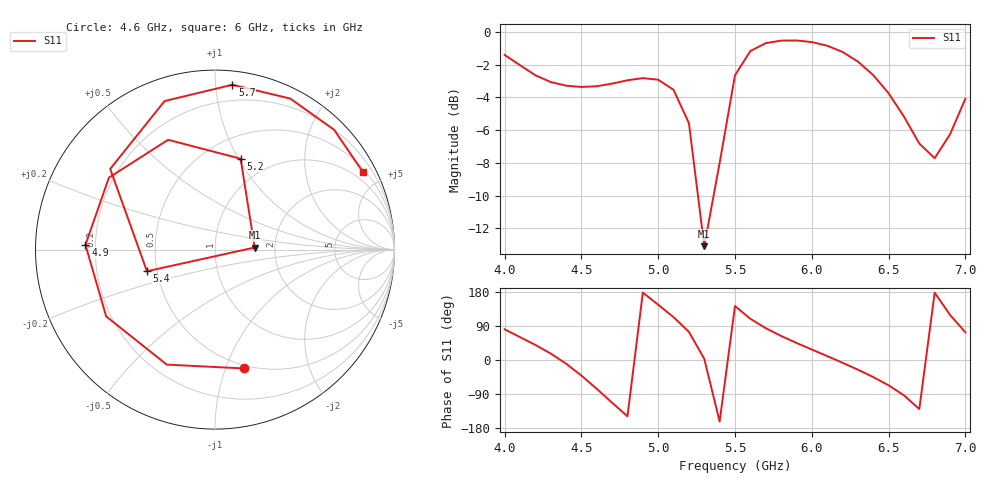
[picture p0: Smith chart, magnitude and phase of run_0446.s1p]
! Touchstone file exported from HFSS 2024.2.0
!  File:  C:/Users/wsak9/Desktop/Sim Fast/Widenad Patch/WP_AI_V1_sweep.aedt
!  Generated:  10:24:20 AM Oct 14, 2026
!  Design:  A1_model
!  Project:  WP_AI_V1_sweep
!  Setup:  Setup1
!  Solution:  Sweep
! Variables:
!  Air_gap = 3.79mm
!  Curve_Amp1 = 2.95
!  Curve_len1 = 1
!  Curve_pos = 11.66mm
!  Extra = 5.12mm
!  H_sub = 0.79mm
!  L_Patch = 19.32mm
!  L_Patch1 = 18.18mm
!  Sx = 3.42mm
!  Sy = 0.51mm
!  WS = 1.21mm
!  W_Patch = 18.83mm
!  W_Patch1 = 13.06mm
!Data is not renormalized
# GHz S MA
! Terminal data exported
! Port[1] = 1
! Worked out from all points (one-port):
!   31 points, 4 GHz to 7 GHz, reference per port
!   lowest |S11| = -13.1 dB at 5.3 GHz (marker M1), VSWR 1.57
!   |S11| at or under -10 dB: 5.259 GHz to 5.361 GHz (102 MHz wide, 1.92 % of centre)
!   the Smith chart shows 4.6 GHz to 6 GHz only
!   S11 on the Smith chart (normalised r, x): 4.6 GHz: 0.47, -1.16; 4.9 GHz: 0.16, +0.02; 5.2 GHz: 0.73, +1.02; 5.4 GHz: 0.44, -0.13; 5.7 GHz: 0.09, +1.11; 6 GHz: 0.61, +3.97
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4  0.8503 81.1
4.2  0.737 39.8
4.3  0.7028 17.1
4.4  0.6849 -9.7
4.5  0.6785 -41.0
4.6  0.6822 -76.1
4.7  0.6949 -112.8
4.8  0.7114 -148.5
4.9  0.7222 177.9
5  0.7142 145.9
5.1  0.6652 113.1
5.2  0.5261 74.3
5.3  0.2214 3.0
5.4  0.3978 -162.4
5.5  0.7368 142.4
5.6  0.874 108.7
5.7  0.9234 84.0
5.9  0.9413 45.1
6  0.9306 27.7
6.1  0.9073 10.4
6.2  0.8684 -7.2
6.3  0.8117 -25.6
6.5  0.6493 -66.7
6.6  0.5512 -93.1
6.7  0.4559 -129.4
6.8  0.4112 177.9
6.9  0.4865 118.9
7  0.6249 73.1
